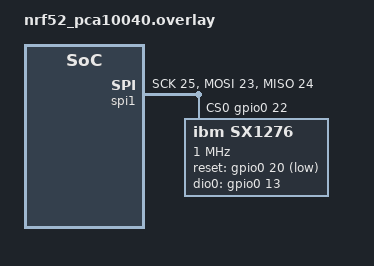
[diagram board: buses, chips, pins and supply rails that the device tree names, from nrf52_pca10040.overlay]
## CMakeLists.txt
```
# SPDX-License-Identifier: Apache-2.0

cmake_minimum_required(VERSION 3.13.1)

set_property(GLOBAL APPEND PROPERTY HEX_FILES_TO_MERGE
      ${app_provision_hex})

set(DTS_ROOT_BINDINGS "${CMAKE_CURRENT_SOURCE_DIR}")
set(BOARD nrf52_pca10040)

include($ENV{ZEPHYR_BASE}/cmake/app/boilerplate.cmake NO_POLICY_SCOPE)
project(lora)

include_directories(app PRIVATE inc)
include_directories(app PRIVATE src/lmic)

FILE(GLOB app_sources src/*.c)
FILE(GLOB lmic_sources src/lmic/*.c)

target_sources(app PRIVATE
  ${app_sources}
  ${lmic_sources}
  )
```

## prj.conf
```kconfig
CONFIG_DEBUG=y
CONFIG_GPIO=y

CONFIG_HEAP_MEM_POOL_SIZE=6144
CONFIG_HEAP_MEM_POOL_MIN_SIZE=64

CONFIG_BUILD_OUTPUT_HEX=y

CONFIG_NEWLIB_LIBC=y
CONFIG_NEWLIB_LIBC_NANO=y

#------------------------------------------------

CONFIG_SPI=y
CONFIG_NRFX_SPI1=y
CONFIG_SPI_1=y
CONFIG_SPI_1_OP_MODES=1
CONFIG_SPI_NRFX=y
CONFIG_SPI_1_NRF_SPI=y
CONFIG_SPI_1_NRF_ORC=0xff

#------------------------------------------------

CONFIG_BT=y
CONFIG_BT_DEBUG_LOG=y
CONFIG_BT_SMP=y
CONFIG_BT_PERIPHERAL=y

CONFIG_BT_GATT_DIS=y
CONFIG_BT_GATT_DIS_PNP=n
CONFIG_BT_GATT_BAS=y
CONFIG_BT_GATT_BAS_LOG_LEVEL=0

CONFIG_BT_DEVICE_NAME="LORA"
CONFIG_BT_DEVICE_APPEARANCE=128

CONFIG_BT_GATT_DIS=y
CONFIG_BT_GATT_DIS_PNP=n
CONFIG_BT_GATT_DIS_MODEL="PCA10040"
CONFIG_BT_GATT_DIS_MANUF="Nordic"
CONFIG_BT_GATT_DIS_SERIAL_NUMBER=y
CONFIG_BT_GATT_DIS_SERIAL_NUMBER_STR="Serial No."
CONFIG_BT_GATT_DIS_FW_REV=y
CONFIG_BT_GATT_DIS_HW_REV=y
CONFIG_BT_GATT_DIS_SW_REV=y
CONFIG_BT_GATT_DIS_FW_REV_STR="Firmware Rev"
CONFIG_BT_GATT_DIS_HW_REV_STR="Hardware Rev"
CONFIG_BT_GATT_DIS_SW_REV_STR="Software Rev"

#------------------------------------------------

CONFIG_USE_SEGGER_RTT=y
CONFIG_SEGGER_RTT_MAX_NUM_UP_BUFFERS=3
CONFIG_SEGGER_RTT_MAX_NUM_DOWN_BUFFERS=3
CONFIG_SEGGER_RTT_BUFFER_SIZE_UP=1024
CONFIG_SEGGER_RTT_BUFFER_SIZE_DOWN=16
CONFIG_SEGGER_RTT_PRINTF_BUFFER_SIZE=64
CONFIG_SEGGER_RTT_MODE_NO_BLOCK_SKIP=y

CONFIG_LOG=y
CONFIG_LOG_DEFAULT_LEVEL=3
CONFIG_LOG_OVERRIDE_LEVEL=0
CONFIG_LOG_MAX_LEVEL=4
CONFIG_LOG_FUNC_NAME_PREFIX_DBG=y
CONFIG_LOG_PRINTK=y
CONFIG_LOG_PRINTK_MAX_STRING_LENGTH=128
CONFIG_LOG_MODE_OVERFLOW=y
CONFIG_LOG_PROCESS_TRIGGER_THRESHOLD=10
CONFIG_LOG_PROCESS_THREAD=y
CONFIG_LOG_PROCESS_THREAD_SLEEP_MS=1000
CONFIG_LOG_PROCESS_THREAD_STACK_SIZE=768
CONFIG_LOG_BUFFER_SIZE=1024
CONFIG_LOG_DETECT_MISSED_STRDUP=y
CONFIG_LOG_STRDUP_MAX_STRING=32
CONFIG_LOG_STRDUP_BUF_COUNT=4
CONFIG_LOG_DOMAIN_ID=0
CONFIG_LOG_BACKEND_UART=y

CONFIG_LOG_BACKEND_RTT=y
CONFIG_LOG_BACKEND_RTT_MODE_BLOCK=y
CONFIG_LOG_BACKEND_RTT_OUTPUT_BUFFER_SIZE=64
CONFIG_LOG_BACKEND_RTT_RETRY_CNT=4
CONFIG_LOG_BACKEND_RTT_RETRY_DELAY_MS=5
CONFIG_LOG_BACKEND_RTT_BUFFER=0
CONFIG_LOG_BACKEND_SHOW_COLOR=y
CONFIG_LOG_BACKEND_FORMAT_TIMESTAMP=y

CONFIG_LOG_BACKEND_SHOW_COLOR=n
```

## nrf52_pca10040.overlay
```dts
/*
 * Copyright (c) 2019 Callender-Consulting, LLC
 *
 * SPDX-License-Identifier: Apache-2.0
 */

&spi1 {
    status = "okay";
    sck-pin = <25>;
    mosi-pin = <23>;
    miso-pin = <24>;
    cs-gpios = <&gpio0 22 0>;

    lmic@0 {
        compatible = "ibm,sx1276";
        reg = <0>;
        spi-max-frequency = <1000000>;
        label = "SX1276";
        reset-gpios = <&gpio0 20 GPIO_ACTIVE_LOW>;
        dio0-gpios  = <&gpio0 13 0>;
    };
};
```

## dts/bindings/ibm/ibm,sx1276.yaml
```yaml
description: IBM-LMIC LoRa Device

compatible: "ibm,sx1276"

include: spi-device.yaml

properties:
  reset-gpios:
    type: phandle-array
    required: false

  dio0-gpios:
    type: phandle-array
    required: false
```

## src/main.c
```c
/* 
 *  main.c - Application main entry point 
 */
#include <zephyr.h>
#include <sys/printk.h>

#include "buttons.h"
#include "event.h"
#include "lora_app.h"

#include <logging/log.h>
LOG_MODULE_REGISTER(main, 3);

#define STACKSIZE 1024
#define PRIORITY 7

int LoRa_init( void );

//#ifdef CONFIG_BT
#if 0
/*---------------------------------------------------------------------------*/
/*                                                                           */
/*---------------------------------------------------------------------------*/
#include "ble_policy.h"
#include "ble_base.h"

void bluetooth_thread(void * id, void * unused1, void * unused2)
{
    LOG_INF("%s", __func__);

    ble_policy_init();

    while(1) { /* spin */}
}

K_THREAD_DEFINE(bluetooth_id, STACKSIZE, bluetooth_thread, 
                NULL, NULL, NULL, PRIORITY, 0, K_NO_WAIT);
#endif

/*---------------------------------------------------------------------------*/
/*                                                                           */
/*---------------------------------------------------------------------------*/
void main_thread(void * id, void * unused1, void * unused2)
{
    LOG_INF("%s", __func__);

    buttons_init();
    event_init();

    k_sleep( K_MSEC(500));

   //ble_start_advertising();

    lora_app_init();
}

K_THREAD_DEFINE(main_id, STACKSIZE, main_thread, 
                NULL, NULL, NULL, PRIORITY, 0, K_NO_WAIT);
```

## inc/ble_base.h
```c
/*
 *  ble_base.h
 */
#ifndef __BLE_BASE_H__
#define __BLE_BASE_H__

#include "ble_service.h"
#include "ble_uuids.h" 

bool ble_is_connected(void);
void bas_notify(void);

int  ble_start_advertising(void);
int  ble_stop_advertising(void);
int  ble_disconnect(void);
int  ble_base_init(void);
                   
#endif  // __BLE_BASE_H__
```

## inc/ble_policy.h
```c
/*
 *  ble_policy.h
 */
#ifndef __BLE_POLICY_H__
#define __BLE_POLICY_H__

#include "buttons.h"

/*---------------------------------------------------------------------------*/
/*                                                                           */
/*---------------------------------------------------------------------------*/

typedef enum {
    BLE_EVENT__INVALID = 0,
    BLE_EVENT__VOICE,
    BLE_EVENT__LAST
} ble_event_t;

typedef enum {
    BLE_CMD__BAD_CMD  = 0,
    BLE_CMD__BAD_ACT  = 1,
    BLE_CMD__STOP     = 0x10,
    BLE_CMD__UNLOAD   = 0x20,
    BLE_CMD__LOAD     = 0x30,
    BLE_CMD__LEFT     = 0x40,
    BLE_CMD__RIGHT    = 0x41,
    BLE_CMD__UP       = 0x42,
    BLE_CMD__DOWN     = 0x43,
    BLE_CMD__DISPENSE = 0x50,
} ble_cmd_t;

#define MAX_DEVICEID_STRING_LEN 16

extern int  DeviceIdLen;
extern char DeviceId [MAX_DEVICEID_STRING_LEN];

/*---------------------------------------------------------------------------*/
/*                                                                           */
/*---------------------------------------------------------------------------*/
int  ble_enqueue_msg(ble_event_t charact, u32_t data);
void ble_operation_complete(ble_event_t charact, u32_t code);
void ble_button_event(buttons_id_t id);
int  ble_policy_init(void);
void ble_device_name(void);

#endif  // __BLE_POLICY_H__
```

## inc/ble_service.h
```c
/*
 *  ble_service.h
 */
#ifndef __BLE_SERVICE_H__
#define __BLE_SERVICE_H__

/*---------------------------------------------------------------------------*/
/*  BLE Report                                                               */
/*---------------------------------------------------------------------------*/

struct ble_rep {
    uint16_t node_id;
    float dist;
    uint8_t tqf;
}__attribute__((__packed__));

typedef struct ble_rep ble_rep_t;

struct ble_reps {
    uint8_t cnt;
    ble_rep_t ble_rep[10];
}__attribute__((__packed__));

typedef struct ble_reps ble_reps_t;

/*---------------------------------------------------------------------------*/
/*                                                                           */
/*---------------------------------------------------------------------------*/
int paste_notify(u32_t cmd, u32_t code);

#endif  // __BLE_SERVICE_H__
```

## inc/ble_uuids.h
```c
/*
 *  ble_uuids.h
 */
#ifndef __BLE_UUIDS_H__
#define __BLE_UUIDS_H__

/*
 *   4910FFA9-8D54-4699-851B-7E83A872xxxx
 */
#define PASTE_UUID_BASE 0x72,0xA8,0x83,0x7E,0x1B,0x85,0x99,0x46,0x54,0x8D,0xA9,0xFF,0x10,0x49

#define PASTE_UUID_SERVICE            0x00,0x00
#define PASTE_UUID_NOTIFY             0x01,0x00
#define PASTE_UUID_VOICE              0x02,0x00

/*
 *  Service UUID:
 */
#define BT_UUID_PASTE_SERVICE \
    BT_UUID_DECLARE_128(PASTE_UUID_SERVICE, PASTE_UUID_BASE)

/*
 *  Characteristics UUIDs:
 */       
#define BT_UUID_PASTE_NOTIFY   \
    BT_UUID_DECLARE_128(PASTE_UUID_NOTIFY, PASTE_UUID_BASE)

#define BT_UUID_PASTE_VOICE   \
    BT_UUID_DECLARE_128(PASTE_UUID_VOICE, PASTE_UUID_BASE)

#endif  // __BLE_UUIDS_H__
```

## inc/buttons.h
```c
/*
 *   buttons.h
 */
#ifndef __BUTTONS_H
#define __BUTTONS_H

#include "buttons_id.h"

typedef void (*buttons_notify_t)(buttons_id_t id);

/*---------------------------------------------------------------------------*/
/*                                                                           */
/*---------------------------------------------------------------------------*/
void buttons_init(void);
void buttons_register_notify_handler(buttons_notify_t notify);
void buttons_unregister_notify_handler(void);

#endif  /* __BUTTONS_H */
```

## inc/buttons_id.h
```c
/*
 *   buttons_id.h
 */
#ifndef __BUTTONS_ID_H
#define __BUTTONS_ID_H


#define NO_PRESS   (-1)
#define INVALID_ID (-1)

typedef enum {
    BTN1_ID  = 1,
    BTN2_ID  = 2,
    BTN3_ID  = 3,
    BTN4_ID  = 4,
} buttons_id_t;

#endif  /* __BUTTONS_ID_H */
```

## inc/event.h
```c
/*
 *   events.h
 */
#ifndef __EVENTS_H
#define __EVENTS_H

/*---------------------------------------------------------------------------*/
/*                                                                           */
/*---------------------------------------------------------------------------*/
void event_init(void);

#endif  /* __EVENTS_H */
```

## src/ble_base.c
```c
/* 
 *  ble_base.c 
 */
#include <zephyr.h>
#include <zephyr/types.h>
#include <stddef.h>
#include <string.h>
#include <errno.h>
#include <sys/printk.h>
#include <sys/byteorder.h>

#include <bluetooth/bluetooth.h>
#include <bluetooth/hci.h>
#include <bluetooth/conn.h>
#include <bluetooth/uuid.h>
#include <bluetooth/gatt.h>
#include <bluetooth/services/bas.h>

#include "ble_policy.h"
#include "ble_base.h"

#define LOG_LEVEL 3 //CONFIG_LOG_DEFAULT_LEVEL
#include <logging/log.h>
LOG_MODULE_REGISTER(ble_base);

static bool connect_state = false;

/*---------------------------------------------------------------------------*/
/*                                                                           */
/*---------------------------------------------------------------------------*/
struct bt_conn * default_conn;

static const struct bt_data advert[] = {
    BT_DATA_BYTES(BT_DATA_FLAGS, (BT_LE_AD_GENERAL | BT_LE_AD_NO_BREDR)),
    BT_DATA_BYTES(BT_DATA_UUID128_ALL, PASTE_UUID_SERVICE, PASTE_UUID_BASE)
};

/*---------------------------------------------------------------------------*/
/*                                                                           */
/*---------------------------------------------------------------------------*/
static void connected_cb(struct bt_conn * conn, u8_t err)
{
    if (err) {
        LOG_INF("Connection failed: err %u", err);
    }
    else {
        default_conn = bt_conn_ref(conn);

        printk("Connected\n");

        connect_state = true;
    }
}

/*---------------------------------------------------------------------------*/
/*                                                                           */
/*---------------------------------------------------------------------------*/
static void disconnected_cb(struct bt_conn * conn, u8_t reason)
{
    LOG_INF("Disconnected: reason %u", reason);

    if (default_conn) {
        bt_conn_unref(default_conn);
        default_conn = NULL;
    }
    connect_state = false;
}

/*---------------------------------------------------------------------------*/
/*                                                                           */
/*---------------------------------------------------------------------------*/

static struct bt_conn_cb conn_callbacks = {
    .connected    = connected_cb,
    .disconnected = disconnected_cb,
};

/*---------------------------------------------------------------------------*/
/*                                                                           */
/*---------------------------------------------------------------------------*/
bool ble_is_connected(void)
{
    return connect_state;
}

/*---------------------------------------------------------------------------*/
/*                                                                           */
/*---------------------------------------------------------------------------*/
int ble_disconnect(void)
{
    LOG_INF("%s", __func__);

    if (default_conn) {
        struct bt_conn * conn = default_conn;

        bt_conn_unref(default_conn);
        
        default_conn = NULL;
        
        k_sleep(50);  // wait for notifications to complete
        
        bt_conn_disconnect(conn, BT_HCI_ERR_REMOTE_USER_TERM_CONN);
    }
    return 0;
}

/*---------------------------------------------------------------------------*/
/*  Callback                                                                 */
/*---------------------------------------------------------------------------*/
static void bt_ready(int err)
{
    if (err) {
        LOG_ERR("Bluetooth initialization failed: %d", err);
        return;
    }

    LOG_INF("Bluetooth initialized OK");
}

/*---------------------------------------------------------------------------*/
/*                                                                           */
/*---------------------------------------------------------------------------*/
int ble_start_advertising(void)
{
    int err;

    static struct bt_data scan[] = {0};

    scan->type     = BT_DATA_NAME_COMPLETE;
    scan->data_len = DeviceIdLen;
    scan->data     = DeviceId;

    err = bt_le_adv_start(BT_LE_ADV_CONN,
                          advert, ARRAY_SIZE(advert),
                          scan,   ARRAY_SIZE(scan));
    if (err) {
        LOG_ERR("Start advertising failed: %d", err);
        return err;
    }

    LOG_INF("Start advertising OK");
    return 0;
}

/*---------------------------------------------------------------------------*/
/*                                                                           */
/*---------------------------------------------------------------------------*/
int ble_stop_advertising(void)
{
    int err;

    err = bt_le_adv_stop();
    if (err) {
        LOG_ERR("Stop advertising failed: %d", err);
        return err;
    }

    LOG_INF("Stop advertising OK");
    return 0;
}

/*---------------------------------------------------------------------------*/
/*                                                                           */
/*---------------------------------------------------------------------------*/
static void auth_cancel(struct bt_conn *conn)
{
    char addr[BT_ADDR_LE_STR_LEN];

    bt_addr_le_to_str(bt_conn_get_dst(conn), addr, sizeof(addr));

    LOG_INF("Pairing cancelled: %s", addr);
}

static struct bt_conn_auth_cb  auth_cb_display = {
    .cancel = auth_cancel,
};

/*---------------------------------------------------------------------------*/
/*                                                                           */
/*---------------------------------------------------------------------------*/
void bas_notify(void)
{
    u8_t battery_level = bt_gatt_bas_get_battery_level();

    battery_level--;

    if (!battery_level) {
        battery_level = 100U;
    }

    bt_gatt_bas_set_battery_level(battery_level);
}

/*---------------------------------------------------------------------------*/
/*                                                                           */
/*---------------------------------------------------------------------------*/
int ble_base_init(void)
{
    int err;

    err = bt_enable(bt_ready);
    if (err) {
        LOG_INF("Bluetooth initialization failed: %d", err);
        return err;
    }

    bt_conn_cb_register(&conn_callbacks);
    bt_conn_auth_cb_register(&auth_cb_display);

    return 0;
}
```

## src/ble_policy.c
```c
/* 
 *  ble_policy.c
 */
#include <zephyr/types.h>
#include <stdio.h>
#include <stddef.h>
#include <string.h>
#include <errno.h>
#include <sys/printk.h>
#include <zephyr.h>

#include "ble_policy.h"
#include "ble_base.h"
#include "event.h"
#include "buttons_id.h"

#define LOG_LEVEL 3
#include <logging/log.h>
LOG_MODULE_REGISTER(ble_policy);

/*---------------------------------------------------------------------------*/
/*                                                                           */
/*---------------------------------------------------------------------------*/
typedef struct ble_msg {
    ble_event_t event;
    u32_t       data;
} ble_msg_t;

#define QUEUE_ELEMENTS       8
#define ALIGNMENT            4  // 32-bit alignment

K_MSGQ_DEFINE(ble_queue, sizeof(ble_msg_t), QUEUE_ELEMENTS, ALIGNMENT);

int  DeviceIdLen = 0;
char DeviceId [MAX_DEVICEID_STRING_LEN];

/*---------------------------------------------------------------------------*/
/*                                                                           */
/*---------------------------------------------------------------------------*/
#define STACKSIZE 1024

struct k_thread ble_queue_thread;
K_THREAD_STACK_DEFINE(ble_queue_stack, STACKSIZE);

static k_tid_t tBleQ;

static bool active = false;

static struct k_work disconnect_work;

/*---------------------------------------------------------------------------*/
/*                                                                           */
/*---------------------------------------------------------------------------*/
int ble_command(u32_t data)
{
    int status = 0;
    u8_t bytes[sizeof(u32_t)];
    
    memcpy(bytes, &data, sizeof(bytes));

    u32_t command = bytes[3];
    int params  = (((bytes[0] << 16) + (bytes[1] << 8) + bytes[2]) << 8) >> 8;

    switch (command) {

        case BLE_CMD__STOP:
            LOG_INF("%s: STOP", __func__);
            status = 0;
            break;

        case BLE_CMD__UNLOAD:
            LOG_INF("%s: UNLOAD", __func__);
            status = 0;
            break;

        case BLE_CMD__LOAD:
            LOG_INF("%s: LOAD", __func__);
            status = 0;
            break;

        case BLE_CMD__LEFT:
            LOG_INF("%s: LEFT %d", __func__, params);
            status = 0;
            break;

        case BLE_CMD__RIGHT:
            LOG_INF("%s: RIGHT %d", __func__, params);
            // TBD
            status = 0;
            break;

        case BLE_CMD__UP:
            LOG_INF("%s: UP %d", __func__, params);
            status = 0;
            break;

        case BLE_CMD__DOWN:
            LOG_INF("%s: DOWN %d", __func__, params);
            status = 0;
            break;

        case BLE_CMD__DISPENSE:
            LOG_INF("%s: DISPENSE", __func__);
            status = 0;
            break;

        default:
            LOG_INF("%s: <unknown> 0x%08x : command(%08X), params(%08X)", 
                    __func__, data, command, params);
            status = 0;
            break;
    }

    return status;
}

/*---------------------------------------------------------------------------*/
/*                                                                           */
/*---------------------------------------------------------------------------*/
static void disconnect_work_cb(struct k_work * work)
{
    ble_disconnect();
}

/*---------------------------------------------------------------------------*/
/*                                                                           */
/*---------------------------------------------------------------------------*/
void ble_policy_tasks(void)
{
    while (active) {

        k_sleep(MSEC_PER_SEC);

        if (ble_is_connected()) {
            /* Battery level (simulation) */
            bas_notify();
        }
    }
}

/*---------------------------------------------------------------------------*/
/*                                                                           */
/*---------------------------------------------------------------------------*/
int ble_enqueue_msg(ble_event_t event, u32_t data)
{
    ble_msg_t msg;

    msg.event = event;
    msg.data  = data;

    while (k_msgq_put(&ble_queue, &msg, K_NO_WAIT) != 0) {
        LOG_ERR("%s: k_msgq_put error: purging queue", __func__);
        k_msgq_purge(&ble_queue);
        return -EIO;
    }
    return 0;
}

/*---------------------------------------------------------------------------*/
/*                                                                           */
/*---------------------------------------------------------------------------*/
static void ble_queue_service(void)
{
    int status;
    ble_msg_t msg;
    
    LOG_INF("%s: started", __func__);

    while (1) {

        k_msgq_get(&ble_queue, &msg, K_FOREVER);

        switch (msg.event) {

            case BLE_EVENT__VOICE:
                status = ble_command(msg.data);
                ble_operation_complete(msg.event, status);
                break;

            default:
                ble_operation_complete(msg.event, -EIO);
                break;
        }
    }
}

/*---------------------------------------------------------------------------*/
/*                                                                           */
/*---------------------------------------------------------------------------*/
void ble_device_name(void)
{
    u32_t deviceid = NRF_FICR->DEVICEID[0];

    sprintf(DeviceId, "%s_%08x", CONFIG_BT_DEVICE_NAME, deviceid);

    DeviceIdLen = strlen(DeviceId);

    printk("DeviceId: %s\n", DeviceId);
}

/*---------------------------------------------------------------------------*/
/*                                                                           */
/*---------------------------------------------------------------------------*/
static int ble_queue_init(void)
{
    int status = 0;

    tBleQ = k_thread_create(&ble_queue_thread, 
                            ble_queue_stack, STACKSIZE,
                            (k_thread_entry_t)ble_queue_service, 
                            NULL, NULL, NULL, -1, K_USER, K_FOREVER);

    k_thread_start(&ble_queue_thread);

    return status;
}

/*---------------------------------------------------------------------------*/
/*                                                                           */
/*---------------------------------------------------------------------------*/
void ble_button_event(buttons_id_t id)
{
    //LOG_INF("%s: button %d", __func__, id);

    switch (id) {

        case BTN1_ID:
            paste_notify(0x01, 0x02);
            break;

        default:
            LOG_INF("%s: unknown: %d", __func__, id);
            break;
    }
}

/*---------------------------------------------------------------------------*/
/*                                                                           */
/*---------------------------------------------------------------------------*/
void ble_operation_complete(ble_event_t event, u32_t code)
{
    paste_notify(event, code);
}

/*---------------------------------------------------------------------------*/
/*                                                                           */
/*---------------------------------------------------------------------------*/
int ble_policy_init(void)
{
    int status;

    /*
     *  Create unique device identifier.
     */
    ble_device_name();

    /*
     *  Start base BLE 
     */
    status = ble_base_init();
    if (status < 0) {
        return status;
    }

    /*
     *  Start queue service on its own thread.
     */
    ble_queue_init();
    if (status < 0) {
        return status;
    }

    disconnect_work.handler = disconnect_work_cb;

    /*
     *  Indicate all is initialized.
     */
    active = true;

    /* 
     *  Start polling tasks: thread should never return. Keep last.
     */
    ble_policy_tasks();

    return -EINVAL;
}
```

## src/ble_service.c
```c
/*
 *  BLE Service
 */
#include <zephyr/types.h>
#include <stddef.h>
#include <string.h>
#include <errno.h>
#include <zephyr.h>
#include <init.h>

#include <bluetooth/bluetooth.h>
#include <bluetooth/hci.h>
#include <bluetooth/conn.h>
#include <bluetooth/uuid.h>
#include <bluetooth/gatt.h>

#include "ble_policy.h"
#include "ble_base.h"
#include "ble_uuids.h"
#include "ble_service.h"

#define LOG_LEVEL 3 //CONFIG_LOG_DEFAULT_LEVEL
#include <logging/log.h>
LOG_MODULE_REGISTER(ble_service);

/*---------------------------------------------------------------------------*/
/*                                                                           */
/*---------------------------------------------------------------------------*/
#define CPF_FORMAT_UINT8    4
#define CPF_FORMAT_UTF8     25
#define CPF_FORMAT_OPAQUE   27

static const struct bt_gatt_cpf notify_cpf = {
  .format      = CPF_FORMAT_UINT8,
  .exponent    = 0,         // no fix-point exponent
  .unit        = 0x2700,    // unitless
  .name_space  = 0x01,      // Bluetoot SIG assigned
  .description = 0x0100,    // Front
};

static const struct bt_gatt_cpf command_cpf = {
  .format      = CPF_FORMAT_UINT8,
  .exponent    = 0,         // no fix-point exponent
  .unit        = 0x2700,    // unitless
  .name_space  = 0x01,      // Bluetoot SIG assigned
  .description = 0x0100,    // Front
};

static u8_t paste_command[sizeof(u32_t)] = { 0x00 };

/*---------------------------------------------------------------------------*/
/*                                                                           */
/*---------------------------------------------------------------------------*/
static ssize_t paste_read_command(struct bt_conn * conn,
                                  const struct bt_gatt_attr * attr,
                                  void * buf,
                                  u16_t len,
                                  u16_t offset)
{
    const char * value = attr->user_data;

    return bt_gatt_attr_read(conn, attr, buf, len, offset, value,
                             sizeof(paste_command));
} 

/*---------------------------------------------------------------------------*/
/*                                                                           */
/*---------------------------------------------------------------------------*/
static ssize_t  paste_write_command(struct bt_conn * conn,
                                    const struct bt_gatt_attr *attr,
                                    const void * buf,
                                    u16_t len,
                                    u16_t offset,
                                    u8_t flags)
{
    u8_t * data = attr->user_data;

    //LOG_INF("%s: %02x", __func__, *data);

    if (len > sizeof(u32_t)) {
        LOG_ERR("%s: INVALID_LENGTH", __func__);
        return BT_GATT_ERR(BT_ATT_ERR_INVALID_ATTRIBUTE_LEN);
    }

    ble_enqueue_msg(BLE_EVENT__VOICE, *(u32_t*)buf);

    if (flags & BT_GATT_WRITE_FLAG_PREPARE) {
        LOG_INF("%s: WRITE_FLAG_PREPARE", __func__);
        return 0;
    }

    if (offset + len > sizeof(paste_command)) {
        LOG_ERR("%s: INVALID_OFFSET", __func__);
        return BT_GATT_ERR(BT_ATT_ERR_INVALID_OFFSET);
    }

    memcpy(data + offset, buf, len);

    return len;
}

/*---------------------------------------------------------------------------*/
/*                                                                           */
/*---------------------------------------------------------------------------*/
static void paste_ccc_cfg_changed(const struct bt_gatt_attr * attr, u16_t value)
{
  bool notif_enabled = (value == BT_GATT_CCC_NOTIFY);

  LOG_INF("notify %s", notif_enabled ? "enabled" : "disabled");
}

/*---------------------------------------------------------------------------*/
/* Service Declaration                                                       */
/*---------------------------------------------------------------------------*/
BT_GATT_SERVICE_DEFINE(paste_svc,
    BT_GATT_PRIMARY_SERVICE(BT_UUID_PASTE_SERVICE),
    BT_GATT_CHARACTERISTIC(BT_UUID_PASTE_NOTIFY, BT_GATT_CHRC_NOTIFY,
        BT_GATT_PERM_NONE, 
        NULL, NULL, NULL),
    BT_GATT_CCC(paste_ccc_cfg_changed, BT_GATT_PERM_READ | BT_GATT_PERM_WRITE),
    BT_GATT_CPF(&notify_cpf),
    BT_GATT_CHARACTERISTIC(BT_UUID_PASTE_VOICE,
        (BT_GATT_CHRC_READ | BT_GATT_CHRC_WRITE | BT_GATT_CHRC_EXT_PROP),
        (BT_GATT_PERM_READ | BT_GATT_PERM_WRITE | BT_GATT_PERM_PREPARE_WRITE),
        paste_read_command, paste_write_command, &paste_command),
    BT_GATT_CUD("Command", BT_GATT_PERM_READ),
    BT_GATT_CPF(&command_cpf),
);

/*---------------------------------------------------------------------------*/
/*                                                                           */
/*---------------------------------------------------------------------------*/
int paste_notify(u32_t cmd, u32_t code)
{
    struct {
        u32_t cmd;
        u32_t code;
    } data;

    data.cmd = cmd;
    data.code = code;

    if (ble_is_connected()) {
        int rc = bt_gatt_notify(NULL, &paste_svc.attrs[1], &data, sizeof(data));
        return rc;
    }
    else {
        return -ENOTCONN;
    }
}
```

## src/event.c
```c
/* 
 *  events.c 
 */
#include <zephyr.h>
#include <sys/printk.h>

#include "buttons.h"
#include "event.h"
#include "ble_policy.h"

#include <logging/log.h>
LOG_MODULE_REGISTER(events, 3);

/*---------------------------------------------------------------------------*/
/*                                                                           */
/*---------------------------------------------------------------------------*/
void event_buttons(buttons_id_t btn_id)
{
    LOG_INF("%s", __func__);

    switch (btn_id) {

        case BTN1_ID:
            LOG_INF("%s: Button-1", __func__);
            break;

        case BTN2_ID:
            LOG_INF("%s: Button-2", __func__);
            break;

        case BTN3_ID:
            LOG_INF("%s: Button-3", __func__);
            break;

        case BTN4_ID:
            LOG_INF("%s: Button-4", __func__);
            break;

        default:
            LOG_INF("%s: unknown: %d", __func__, btn_id);
            break;
    }
}

/*---------------------------------------------------------------------------*/
/*                                                                           */
/*---------------------------------------------------------------------------*/
void event_stepper(buttons_id_t btn_id)
{
    LOG_INF("%s", __func__);

    ble_button_event(btn_id);
}
/*---------------------------------------------------------------------------*/
/*                                                                           */
/*---------------------------------------------------------------------------*/
void event_init(void)
{
    LOG_INF("%s", __func__);
    
    /* 
     * Register for button press notifications.
     */
    buttons_register_notify_handler(event_buttons);
}
```
